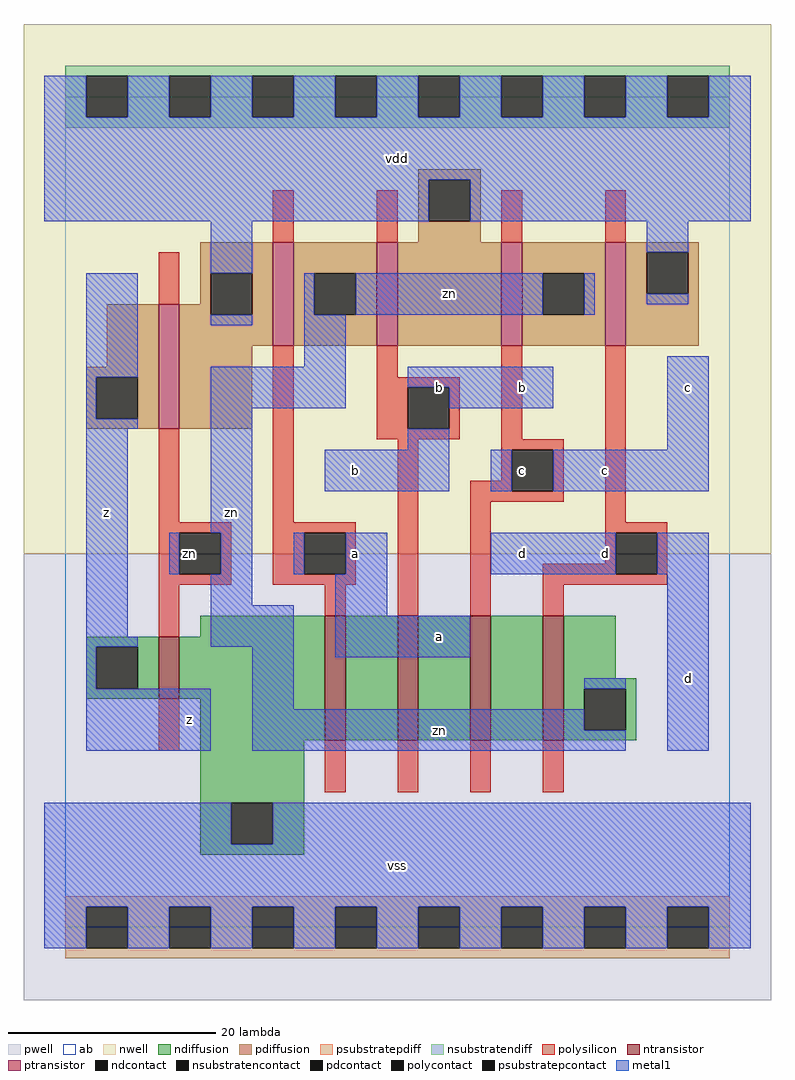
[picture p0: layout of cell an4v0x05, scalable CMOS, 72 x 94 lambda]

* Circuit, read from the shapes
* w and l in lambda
.subckt an4v0x05 a b c d vdd vss z zn
M1 vss zn z vss nfet w=6 l=2
M2 n1 a vss vss nfet w=12 l=2
M3 n2 b n1 vss nfet w=12 l=2
M4 n3 c n2 vss nfet w=12 l=2
M5 zn d n3 vss nfet w=12 l=2
M6 vdd zn z vdd pfet w=12 l=2
M7 zn a vdd vdd pfet w=10 l=2
M8 vdd b zn vdd pfet w=10 l=2
M9 zn c vdd vdd pfet w=10 l=2
M10 vdd d zn vdd pfet w=10 l=2
.ends

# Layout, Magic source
magic
tech scmos
<< ab >>
rect 0 0 64 80
<< pwell >>
rect -4 -7 68 36
<< nwell >>
rect -4 36 68 87
<< polysilicon >>
rect 20 66 22 71
rect 30 66 32 71
rect 42 66 44 71
rect 52 66 54 71
rect 9 60 11 65
rect 9 39 11 48
rect 20 39 22 56
rect 30 53 32 56
rect 30 52 38 53
rect 30 48 33 52
rect 37 48 38 52
rect 30 47 38 48
rect 42 47 44 56
rect 9 38 16 39
rect 9 34 11 38
rect 15 34 16 38
rect 9 33 16 34
rect 20 38 28 39
rect 20 34 23 38
rect 27 34 28 38
rect 20 33 28 34
rect 9 28 11 33
rect 25 30 27 33
rect 32 30 34 47
rect 42 46 48 47
rect 42 43 43 46
rect 39 42 43 43
rect 47 42 48 46
rect 39 41 48 42
rect 39 30 41 41
rect 52 39 54 56
rect 52 38 58 39
rect 52 35 53 38
rect 46 34 53 35
rect 57 34 58 38
rect 46 33 58 34
rect 46 30 48 33
rect 9 17 11 22
rect 25 13 27 18
rect 32 13 34 18
rect 39 13 41 18
rect 46 13 48 18
<< ndiffusion >>
rect 13 28 25 30
rect 2 27 9 28
rect 2 23 3 27
rect 7 23 9 27
rect 2 22 9 23
rect 11 22 25 28
rect 13 18 25 22
rect 27 18 32 30
rect 34 18 39 30
rect 41 18 46 30
rect 48 24 53 30
rect 48 23 55 24
rect 48 19 50 23
rect 54 19 55 23
rect 48 18 55 19
rect 13 12 23 18
rect 13 8 16 12
rect 20 8 23 12
rect 13 7 23 8
<< pdiffusion >>
rect 34 72 40 73
rect 34 68 35 72
rect 39 68 40 72
rect 34 66 40 68
rect 13 63 20 66
rect 13 60 14 63
rect 4 54 9 60
rect 2 53 9 54
rect 2 49 3 53
rect 7 49 9 53
rect 2 48 9 49
rect 11 59 14 60
rect 18 59 20 63
rect 11 56 20 59
rect 22 63 30 66
rect 22 59 24 63
rect 28 59 30 63
rect 22 56 30 59
rect 32 56 42 66
rect 44 63 52 66
rect 44 59 46 63
rect 50 59 52 63
rect 44 56 52 59
rect 54 65 61 66
rect 54 61 56 65
rect 60 61 61 65
rect 54 56 61 61
rect 11 48 18 56
<< metal1 >>
rect -2 78 2 82
rect 6 78 10 82
rect 14 78 18 82
rect 22 78 26 82
rect 30 78 34 82
rect 38 78 42 82
rect 46 78 50 82
rect 54 78 58 82
rect 62 78 66 82
rect -2 72 66 78
rect -2 68 35 72
rect 39 68 66 72
rect 14 63 18 68
rect 56 65 60 68
rect 2 53 7 63
rect 14 58 18 59
rect 23 59 24 63
rect 28 59 46 63
rect 50 59 51 63
rect 56 60 60 61
rect 23 54 27 59
rect 2 49 3 53
rect 2 48 7 49
rect 14 50 27 54
rect 33 52 47 54
rect 2 28 6 48
rect 14 38 18 50
rect 37 50 47 52
rect 33 46 37 48
rect 58 46 62 55
rect 25 42 37 46
rect 41 42 43 46
rect 47 42 62 46
rect 10 34 11 38
rect 15 34 18 38
rect 22 34 23 38
rect 27 34 31 38
rect 41 34 53 38
rect 57 34 62 38
rect 14 31 18 34
rect 2 27 7 28
rect 14 27 22 31
rect 2 23 3 27
rect 2 17 14 23
rect 18 21 22 27
rect 26 30 31 34
rect 26 26 39 30
rect 50 23 54 24
rect 18 19 50 21
rect 18 17 54 19
rect 58 17 62 34
rect -2 8 16 12
rect 20 8 66 12
rect -2 2 66 8
rect -2 -2 2 2
rect 6 -2 10 2
rect 14 -2 18 2
rect 22 -2 26 2
rect 30 -2 34 2
rect 38 -2 42 2
rect 46 -2 50 2
rect 54 -2 58 2
rect 62 -2 66 2
<< ntransistor >>
rect 9 22 11 28
rect 25 18 27 30
rect 32 18 34 30
rect 39 18 41 30
rect 46 18 48 30
<< ptransistor >>
rect 9 48 11 60
rect 20 56 22 66
rect 30 56 32 66
rect 42 56 44 66
rect 52 56 54 66
<< polycontact >>
rect 33 48 37 52
rect 11 34 15 38
rect 23 34 27 38
rect 43 42 47 46
rect 53 34 57 38
<< ndcontact >>
rect 3 23 7 27
rect 50 19 54 23
rect 16 8 20 12
<< pdcontact >>
rect 35 68 39 72
rect 3 49 7 53
rect 14 59 18 63
rect 24 59 28 63
rect 46 59 50 63
rect 56 61 60 65
<< psubstratepcontact >>
rect 2 -2 6 2
rect 10 -2 14 2
rect 18 -2 22 2
rect 26 -2 30 2
rect 34 -2 38 2
rect 42 -2 46 2
rect 50 -2 54 2
rect 58 -2 62 2
<< nsubstratencontact >>
rect 2 78 6 82
rect 10 78 14 82
rect 18 78 22 82
rect 26 78 30 82
rect 34 78 38 82
rect 42 78 46 82
rect 50 78 54 82
rect 58 78 62 82
<< psubstratepdiff >>
rect 0 2 64 3
rect 0 -2 2 2
rect 6 -2 10 2
rect 14 -2 18 2
rect 22 -2 26 2
rect 30 -2 34 2
rect 38 -2 42 2
rect 46 -2 50 2
rect 54 -2 58 2
rect 62 -2 64 2
rect 0 -3 64 -2
<< nsubstratendiff >>
rect 0 82 64 83
rect 0 78 2 82
rect 6 78 10 82
rect 14 78 18 82
rect 22 78 26 82
rect 30 78 34 82
rect 38 78 42 82
rect 46 78 50 82
rect 54 78 58 82
rect 62 78 64 82
rect 0 77 64 78
<< labels >>
rlabel polycontact 12 36 12 36 6 zn
rlabel metal1 4 40 4 40 6 z
rlabel metal1 12 20 12 20 6 z
rlabel metal1 16 40 16 40 6 zn
rlabel metal1 32 6 32 6 6 vss
rlabel metal1 36 28 36 28 6 a
rlabel metal1 28 36 28 36 6 a
rlabel metal1 28 44 28 44 6 b
rlabel metal1 36 52 36 52 6 b
rlabel metal1 32 74 32 74 6 vdd
rlabel polycontact 44 44 44 44 6 c
rlabel metal1 44 36 44 36 6 d
rlabel metal1 44 52 44 52 6 b
rlabel metal1 37 61 37 61 6 zn
rlabel metal1 36 19 36 19 6 zn
rlabel metal1 60 24 60 24 6 d
rlabel metal1 52 36 52 36 6 d
rlabel metal1 52 44 52 44 6 c
rlabel metal1 60 52 60 52 6 c
<< end >>
